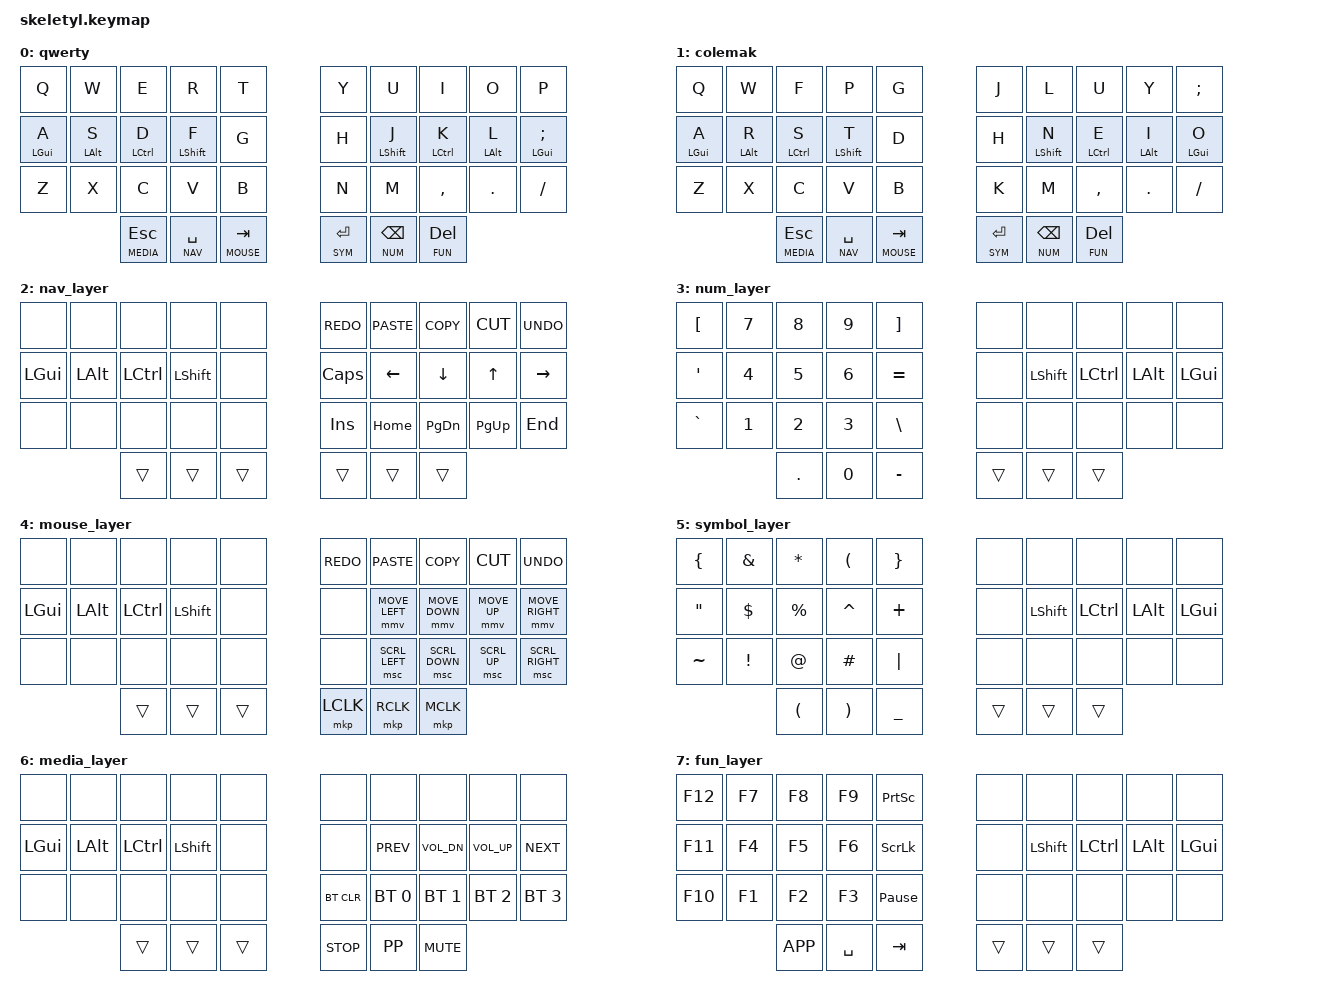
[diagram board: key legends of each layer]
#include <behaviors.dtsi>
#include <dt-bindings/zmk/keys.h>
#include <dt-bindings/zmk/bt.h>
#include <dt-bindings/zmk/outputs.h>

#define ZMK_POINTING_DEFAULT_MOVE_VAL 1600  // default: 600
#define ZMK_POINTING_DEFAULT_SCRL_VAL 20    // default: 10
#include <dt-bindings/zmk/pointing.h>

// Modified keymap based on personal experience, with some improvements based on Miryoku layout.

#define QWERTY  0
#define COLEMAK 1
#define NAV     2
#define NUM     3
#define MOUSE   4
#define SYM     5
#define MEDIA   6
#define FUN     7

/ {
    behaviors {
        hm: homerow_mods {
            compatible = "zmk,behavior-hold-tap";
            label = "HOMEROW_MODS";
            #binding-cells = <2>;
            tapping-term-ms = <200>;
            quick-tap-ms = <0>;
            flavor = "balanced";
            bindings = <&kp>, <&kp>;
        };
        hmp: homerow_mods_pinky {
            compatible = "zmk,behavior-hold-tap";
            label = "HOMEROW_MODS_PINKY";
            #binding-cells = <2>;
            tapping-term-ms = <250>;
            quick-tap-ms = <0>;
            flavor = "tap-preferred";
            bindings = <&kp>, <&kp>;
        };
    };

    combos {
        compatible = "zmk,combos";

        // Combo for toggling the Colemak layout
        combo_tg_colemak {
            timeout-ms = <50>;
            key-positions = <0 9>;
            bindings = <&tog COLEMAK>;
        };

        // Combo for bluetooth control
        // (i.e. switch among the devices).
        combo_bt_next {
            timeout-ms = <50>;
            key-positions = <9 19>;
            bindings = <&bt BT_NXT>;
        };
        combo_bt_prev {
            timeout-ms = <50>;
            key-positions = <9 29>;
            bindings = <&bt BT_PRV>;
        };
        combo_bt_out_tog {
            timeout-ms = <50>;
            key-positions = <4 5>;
            bindings = <&out OUT_TOG>;
        };

    };

    keymap {
        compatible = "zmk,keymap";

        qwerty {
            bindings = <
    &kp Q       &kp W       &kp E       &kp R           &kp T           &kp Y       &kp U        &kp I       &kp O       &kp P
    &hmp LGUI A &hm LALT S  &hm LCTRL D &hm LSHIFT F    &kp G           &kp H       &hm LSHIFT J &hm LCTRL K &hm LALT L  &hmp LGUI SEMI
    &kp Z       &kp X       &kp C       &kp V           &kp B           &kp N       &kp M        &kp COMMA   &kp DOT     &kp FSLH
                            &lt MEDIA ESC &lt NAV SPACE  &lt MOUSE TAB  &lt SYM RET &lt NUM BSPC &lt FUN DEL
            >;
        };

        colemak {
            bindings = <
    &kp Q       &kp W       &kp F       &kp P           &kp G           &kp J       &kp L        &kp U        &kp Y        &kp SEMI
    &hmp LGUI A &hm LALT R  &hm LCTRL S &hm LSHIFT T    &kp D           &kp H       &hm LSHIFT N &hm LCTRL E  &hm LALT I   &hmp LGUI O
    &kp Z       &kp X       &kp C       &kp V           &kp B           &kp K       &kp M        &kp COMMA    &kp DOT      &kp FSLH
                            &lt MEDIA ESC &lt NAV SPACE  &lt MOUSE TAB   &lt SYM RET &lt NUM BSPC &lt FUN DEL
            >;
        };

        nav_layer {
            bindings = <
    &none       &none           &none       &none           &none       &kp K_REDO  &kp K_PASTE &kp K_COPY  &kp K_CUT   &kp K_UNDO
    &kp LGUI    &kp LALT        &kp LCTRL   &kp LSHIFT      &none       &kp CAPS    &kp LEFT    &kp DOWN    &kp UP      &kp RIGHT
    &none       &none           &none       &none           &none       &kp INS     &kp HOME    &kp PG_DN   &kp PG_UP    &kp END
                                &trans      &trans          &trans      &trans      &trans      &trans     
            >;
        };

       num_layer {
           bindings = <
    &kp LBKT    &kp N7    &kp N8    &kp N9    &kp RBKT    &none    &none      &none       &none       &none       
    &kp SQT     &kp N4    &kp N5    &kp N6    &kp EQUAL   &none    &kp LSHIFT &kp LCTRL   &kp LALT    &kp LGUI
    &kp GRAVE   &kp N1    &kp N2    &kp N3    &kp BSLH    &none    &none      &none       &none       &none       
                          &kp DOT   &kp N0    &kp MINUS   &trans   &trans     &trans
            >;
        };

        mouse_layer {
            bindings = <
    &none       &none           &none       &none           &none       &kp K_REDO  &kp K_PASTE &kp K_COPY  &kp K_CUT   &kp K_UNDO
    &kp LGUI    &kp LALT        &kp LCTRL   &kp LSHIFT      &none       &none       &mmv MOVE_LEFT &mmv MOVE_DOWN  &mmv MOVE_UP &mmv MOVE_RIGHT
    &none       &none           &none       &none           &none       &none       &msc SCRL_LEFT &msc SCRL_DOWN  &msc SCRL_UP &msc SCRL_RIGHT
                                &trans      &trans          &trans      &mkp LCLK   &mkp RCLK   &mkp MCLK     
            >;
        };

       symbol_layer {
           bindings = <
    &kp LBRC    &kp AMPS  &kp ASTRK &kp LPAR  &kp RBRC    &none    &none     &none       &none       &none       
    &kp DQT     &kp DLLR  &kp PRCNT &kp CARET &kp PLUS    &none    &kp LSHIFT &kp LCTRL  &kp LALT    &kp LGUI
    &kp TILDE   &kp EXCL  &kp AT    &kp HASH  &kp PIPE    &none    &none     &none       &none       &none       
                          &kp LPAR  &kp RPAR  &kp UNDER   &trans   &trans    &trans
            >;
        };

        media_layer {
            bindings = <
    &none       &none       &none       &none           &none       &none       &none        &none        &none          &none
    &kp LGUI    &kp LALT    &kp LCTRL   &kp LSHIFT      &none       &none       &kp K_PREV   &kp K_VOL_DN &kp K_VOL_UP   &kp K_NEXT
    &none       &none       &none       &none           &none       &bt BT_CLR  &bt BT_SEL 0 &bt BT_SEL 1 &bt BT_SEL 2   &bt BT_SEL 3
                            &trans      &trans          &trans      &kp K_STOP  &kp K_PP     &kp K_MUTE     
            >;
        };

        fun_layer {
            bindings = <
    &kp F12 &kp F7  &kp F8      &kp F9      &kp PSCRN       &none   &none       &none       &none       &none
    &kp F11 &kp F4  &kp F5      &kp F6      &kp SLCK        &none   &kp LSHIFT  &kp LCTRL   &kp LALT    &kp LGUI
    &kp F10 &kp F1  &kp F2      &kp F3      &kp PAUSE_BREAK &none   &none       &none       &none       &none
                    &kp K_APP   &kp SPACE   &kp TAB         &trans  &trans      &trans
            >;
        };
    };
};
